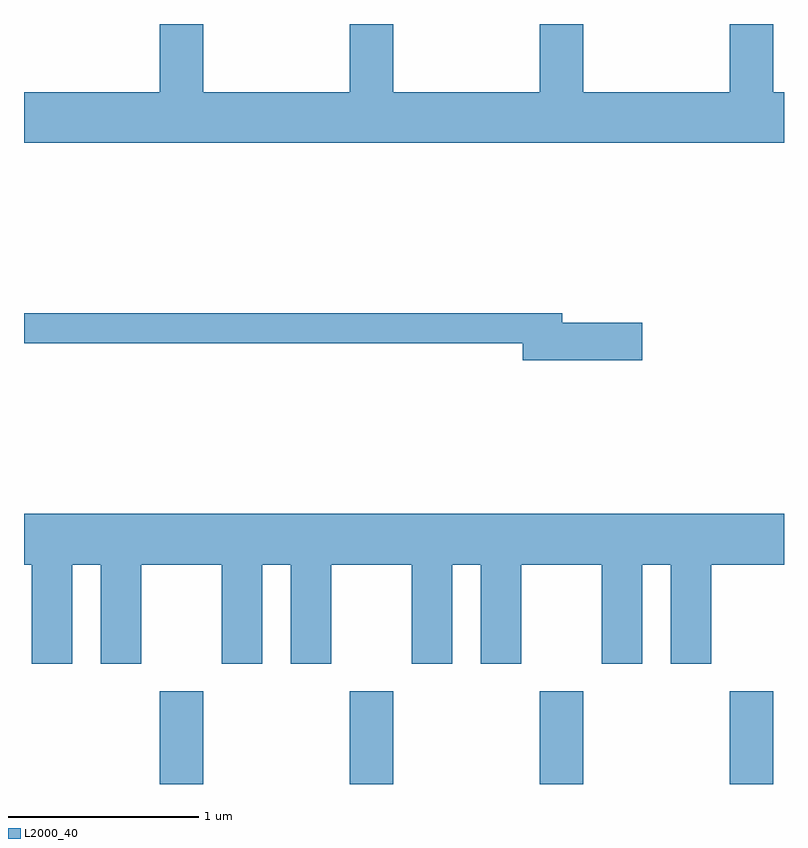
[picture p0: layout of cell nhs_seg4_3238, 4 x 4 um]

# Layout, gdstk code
import gdstk
lib = gdstk.Library(unit=1e-6, precision=1e-09)
def R(c, l, rs):  # rectangles x0, y0, x1, y1
    for r in rs: c.add(gdstk.rectangle(r[:2], r[2:], *l))
def A(c, l, x, y, w, h, nx, ny, dx, dy):  # array of equal rectangles
    R(c, l, [(x+i*dx, y+j*dy, x+i*dx+w, y+j*dy+h) for i in range(nx) for j in range(ny)])
def P(c, l, *ps):  # polygons
    for p in ps: c.add(gdstk.Polygon(p, *l))
L2000_40 = (2000, 40)

nhs_seg4_3238 = lib.new_cell('nhs_seg4_3238')
A(nhs_seg4_3238, L2000_40, 280.326, 1337.982, 0.228, 0.487, 4, 1, 1, 0)
P(nhs_seg4_3238, L2000_40, [(283.611,1341.624),(283.554,1341.624),(283.554,1341.982),(283.326,1341.982),(283.326,1341.624),(282.554,1341.624),(282.554,1341.982),(282.326,1341.982),(282.326,1341.624),(281.554,1341.624),(281.554,1341.982),(281.326,1341.982),(281.326,1341.624),(280.554,1341.624),(280.554,1341.982),(280.326,1341.982),(280.326,1341.624),(279.611,1341.624),(279.611,1341.356),(283.611,1341.356)],
  [(282.864,1340.409),(282.444,1340.409),(282.444,1340.459),(279.611,1340.459),(279.611,1340.301),(282.236,1340.301),(282.236,1340.211),(282.864,1340.211)],
  [(279.864,1339.136),(280.016,1339.136),(280.016,1338.616),(280.229,1338.616),(280.229,1339.136),(280.651,1339.136),(280.651,1338.616),(280.864,1338.616),(280.864,1339.136),(281.016,1339.136),(281.016,1338.616),(281.229,1338.616),(281.229,1339.136),(281.651,1339.136),(281.651,1338.616),(281.864,1338.616),(281.864,1339.136),(282.016,1339.136),(282.016,1338.616),(282.229,1338.616),(282.229,1339.136),(282.651,1339.136),(282.651,1338.616),(282.864,1338.616),(282.864,1339.136),(283.016,1339.136),(283.016,1338.616),(283.229,1338.616),(283.229,1339.136),(283.611,1339.136),(283.611,1339.404),(279.611,1339.404),(279.611,1339.136),(279.651,1339.136),(279.651,1338.616),(279.864,1338.616)])

lib.write_gds('nhs_seg4_3238.gds')
